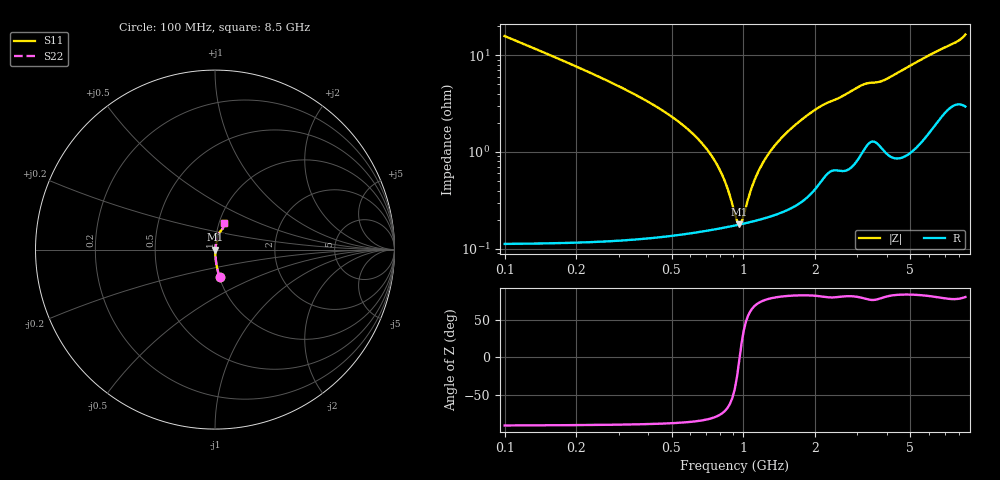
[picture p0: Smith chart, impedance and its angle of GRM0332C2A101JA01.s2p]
!Murata Part Number: GRM0332C2A101JA01
!These Parameters are Measured in Series Mode Connection
!Data Generated on Mar 30, 2021
!  o--ll--o
!Port1  Port2
!  o------o
!Operation Temp=25[degC], DC Bias Voltage=0[V]
!Freq. Start=100[MHz] Stop=9[GHz] 401[Steps]
# Hz S RI R 50
!Freq.(Hz) S11(Real) S11(Imag) S21(Real) S21(Imag) S12(Real) S12(Imag) S22(Real) S22(Imag)
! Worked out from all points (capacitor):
!   401 points, 100 MHz to 8.5 GHz, reference 50 ohm
!   read as one part in series: C = 100 pF near 142 MHz
!   lowest |Z| = 179 mohm at 961 MHz (marker M1)
!   series resonance near 964.3 MHz, so ESL is about 270 pH
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1e8  0.0252 -0.1533  0.9748 0.1533  0.9748 0.1533  0.0252 -0.1533
2.05e8  0.0066 -0.0735  0.9934 0.0735  0.9934 0.0735  0.0066 -0.0735
2.68e8  0.00417 -0.0544  0.9958 0.0544  0.9958 0.0544  0.00417 -0.0544
6.04e8  0.0017 -0.0159  0.9983 0.0159  0.9983 0.0159  0.0017 -0.0159
7.3e8  0.00165 -0.00924  0.9984 0.00924  0.9984 0.00924  0.00165 -0.00924
8.14e8  0.00167 -0.00558  0.9983 0.00558  0.9983 0.00558  0.00167 -0.00558
9.19e8  0.00174 -0.00158  0.9983 0.00158  0.9983 0.00158  0.00174 -0.00158
9.61e8  0.00178 -0.000112  0.9982 0.000112  0.9982 0.000112  0.00178 -0.000112
1.003e9  0.00182 0.00129  0.9982 -0.00129  0.9982 -0.00129  0.00182 0.00129
1.108e9  0.00195 0.00458  0.998 -0.00458  0.998 -0.00458  0.00195 0.00458
1.192e9  0.00207 0.00703  0.9979 -0.00703  0.9979 -0.00703  0.00207 0.00703
1.318e9  0.00229 0.0105  0.9977 -0.0105  0.9977 -0.0105  0.00229 0.0105
1.507e9  0.00271 0.0153  0.9973 -0.0153  0.9973 -0.0153  0.00271 0.0153
1.759e9  0.00352 0.0214  0.9965 -0.0214  0.9965 -0.0214  0.00352 0.0214
2.053e9  0.00527 0.0279  0.9947 -0.0279  0.9947 -0.0279  0.00527 0.0279
2.914e9  0.00929 0.0432  0.9907 -0.0432  0.9907 -0.0432  0.00929 0.0432
3.229e9  0.0131 0.0481  0.9869 -0.0481  0.9869 -0.0481  0.0131 0.0481
3.754e9  0.0137 0.051  0.9863 -0.051  0.9863 -0.051  0.0137 0.051
4.3e9  0.0123 0.0613  0.9877 -0.0613  0.9877 -0.0613  0.0123 0.0613
5.707e9  0.0215 0.0892  0.9785 -0.0892  0.9785 -0.0892  0.0215 0.0892
7.114e9  0.039 0.1122  0.961 -0.1122  0.961 -0.1122  0.039 0.1122
8.5e9  0.0517 0.148  0.9483 -0.148  0.9483 -0.148  0.0517 0.148
